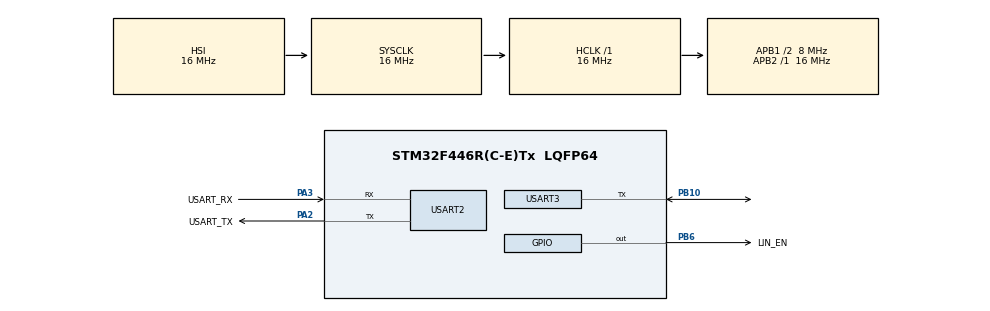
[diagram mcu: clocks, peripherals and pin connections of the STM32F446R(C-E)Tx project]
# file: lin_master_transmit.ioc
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Mcu.Family=STM32F4
Mcu.Name=STM32F446R(C-E)Tx
Mcu.Package=LQFP64
NVIC.PriorityGroup=NVIC_PRIORITYGROUP_0
PA13.GPIO_Label=TMS
PA13.Signal=SYS_JTMS-SWDIO
PA14.GPIO_Label=TCK
PA14.Signal=SYS_JTCK-SWCLK
PA2.GPIO_Label=USART_TX
PA2.Mode=LIN
PA2.Signal=USART2_TX
PA3.GPIO_Label=USART_RX
PA3.Mode=LIN
PA3.Signal=USART2_RX
PB10.GPIO_ModeDefaultOD=GPIO_MODE_AF_PP
PB10.Mode=Half_duplex(single_wire_mode)
PB10.Signal=USART3_TX
PB3.GPIO_Label=SWO
PB3.Signal=SYS_JTDO-SWO
PB6.GPIO_Label=LIN_EN
PB6.Signal=GPIO_Output
PC14-OSC32_IN.Signal=RCC_OSC32_IN
PC15-OSC32_OUT.Signal=RCC_OSC32_OUT
PH0-OSC_IN.Signal=RCC_OSC_IN
PH1-OSC_OUT.Signal=RCC_OSC_OUT
ProjectManager.HeapSize=0x200
ProjectManager.StackSize=0x400
ProjectManager.TargetToolchain=STM32CubeIDE
RCC.AHBFreq_Value=16000000
RCC.APB1CLKDivider=RCC_HCLK_DIV2
RCC.APB1Freq_Value=8000000
RCC.APB1TimFreq_Value=16000000
RCC.APB2Freq_Value=16000000
RCC.APB2TimFreq_Value=16000000
RCC.CortexFreq_Value=16000000
RCC.FLatency-AdvancedSettings=FLASH_LATENCY_0
RCC.HCLKFreq_Value=16000000
RCC.HSE_VALUE=8000000
RCC.HSI_VALUE=16000000
RCC.LSE_VALUE=32768
RCC.PLLN=336
RCC.PLLP=RCC_PLLP_DIV4
RCC.SYSCLKFreq_VALUE=16000000
RCC.USBFreq_Value=168000000
RCC.VCOOutputFreq_Value=336000000
USART2.VirtualMode=VM_ASYNC
USART3.VirtualMode=VM_ASYNC
board=NUCLEO-F446RE

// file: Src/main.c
/* USER CODE BEGIN Header */
/**
  ******************************************************************************
  * @file           : main.c
  * @brief          : Main program body
  ******************************************************************************
  * @attention
  *
  * Copyright (c) 2026 STMicroelectronics.
  * All rights reserved.
  *
  * This software is licensed under terms that can be found in the LICENSE file
  * in the root directory of this software component.
  * If no LICENSE file comes with this software, it is provided AS-IS.
  *
  ******************************************************************************
  DEBUG PRINTS: PB10 (TX) -> RX (USB to UART)
  Arduino Header Pin: D6
  Baudrate: 115200
  */
/* USER CODE END Header */
#include "main.h"

/* USER CODE BEGIN Includes */
#include "inx_mcp2003b.h"
#include "inx_uart_printf_stm32.h"
/* USER CODE END Includes */

/* USER CODE BEGIN PM */

#define TX_LENGTH 8U
#define MSG_COMMAND_ID 0x17U

/* USER CODE END PM */

UART_HandleTypeDef huart2;
UART_HandleTypeDef huart3;

void SystemClock_Config(void);
static void MX_GPIO_Init(void);
static void MX_USART2_UART_Init(void);
static void MX_USART3_UART_Init(void);

/* USER CODE BEGIN 0 */
static inx_mcp2003b_dev_t *lin_handle;

static uint8_t tx_data[TX_LENGTH] = {0x01, 0x02, 0x03, 0x04, 0x05, 0x06, 0x07, 0x08};
static uint8_t id = MSG_COMMAND_ID;
/* USER CODE END 0 */

int main(void)
{

  /* MCU Configuration--------------------------------------------------------*/

  /* Reset of all peripherals, Initializes the Flash interface and the Systick. */
  HAL_Init();

  /* Configure the system clock */
  SystemClock_Config();

  /* Initialize all configured peripherals */
  MX_GPIO_Init();
  MX_USART2_UART_Init();
  MX_USART3_UART_Init();
  /* USER CODE BEGIN 2 */

  inx_uart_printf_init(&huart3);

  inx_mcp2003b_hw_desc_t lin_hw = {
      .uart_handle = &huart2
  };

  inx_mcp2003b_config_t cfg = {
      .lin_baudrate = 10000U,
      .break_width = 11U,
      .flags = INX_MCP2003B_MASTER,
  };

  lin_handle = inx_mcp2003b_open(&lin_hw);

  if(inx_mcp2003b_config(lin_handle, &cfg) != INX_MCP2003B_STATUS_OK)
     return -1;

  HAL_GPIO_WritePin(LIN_EN_GPIO_Port, LIN_EN_Pin, GPIO_PIN_SET);

  printf("LIN Master Start\r\n");

  if(inx_mcp2003b_start(lin_handle) != INX_MCP2003B_STATUS_OK)
      return -1;

  printf("Tx 0x%x {", id);
  if(inx_mcp2003b_write_message(lin_handle, id, tx_data, TX_LENGTH, 0xFFFFFF) == INX_MCP2003B_STATUS_OK) {
    for (uint8_t i = 0; i < TX_LENGTH; i++) {
	  printf(" 0x%x",tx_data[i]);
	}
	printf(" }");
  }
  printf(" br: %lu\r\n", cfg.lin_baudrate);
  /* USER CODE END 2 */

  /* Infinite loop */
  while (1)
  {

  }
}

void SystemClock_Config(void)
{
  RCC_OscInitTypeDef RCC_OscInitStruct = {0};
  RCC_ClkInitTypeDef RCC_ClkInitStruct = {0};

  /** Configure the main internal regulator output voltage
  */
  __HAL_RCC_PWR_CLK_ENABLE();
  __HAL_PWR_VOLTAGESCALING_CONFIG(PWR_REGULATOR_VOLTAGE_SCALE3);

  /** Initializes the RCC Oscillators according to the specified parameters
  * in the RCC_OscInitTypeDef structure.
  */
  RCC_OscInitStruct.OscillatorType = RCC_OSCILLATORTYPE_HSI;
  RCC_OscInitStruct.HSIState = RCC_HSI_ON;
  RCC_OscInitStruct.HSICalibrationValue = RCC_HSICALIBRATION_DEFAULT;
  RCC_OscInitStruct.PLL.PLLState = RCC_PLL_NONE;
  if (HAL_RCC_OscConfig(&RCC_OscInitStruct) != HAL_OK)
  {
    Error_Handler();
  }

  /** Initializes the CPU, AHB and APB buses clocks
  */
  RCC_ClkInitStruct.ClockType = RCC_CLOCKTYPE_HCLK|RCC_CLOCKTYPE_SYSCLK
                              |RCC_CLOCKTYPE_PCLK1|RCC_CLOCKTYPE_PCLK2;
  RCC_ClkInitStruct.SYSCLKSource = RCC_SYSCLKSOURCE_HSI;
  RCC_ClkInitStruct.AHBCLKDivider = RCC_SYSCLK_DIV1;
  RCC_ClkInitStruct.APB1CLKDivider = RCC_HCLK_DIV2;
  RCC_ClkInitStruct.APB2CLKDivider = RCC_HCLK_DIV1;

  if (HAL_RCC_ClockConfig(&RCC_ClkInitStruct, FLASH_LATENCY_0) != HAL_OK)
  {
    Error_Handler();
  }
}

static void MX_USART2_UART_Init(void)
{

  huart2.Instance = USART2;
  huart2.Init.BaudRate = 115200;
  huart2.Init.WordLength = UART_WORDLENGTH_8B;
  huart2.Init.StopBits = UART_STOPBITS_1;
  huart2.Init.Parity = UART_PARITY_NONE;
  huart2.Init.Mode = UART_MODE_TX_RX;
  huart2.Init.HwFlowCtl = UART_HWCONTROL_NONE;
  huart2.Init.OverSampling = UART_OVERSAMPLING_16;
  if (HAL_LIN_Init(&huart2, UART_LINBREAKDETECTLENGTH_10B) != HAL_OK)
  {
    Error_Handler();
  }

}

static void MX_USART3_UART_Init(void)
{

  huart3.Instance = USART3;
  huart3.Init.BaudRate = 115200;
  huart3.Init.WordLength = UART_WORDLENGTH_8B;
  huart3.Init.StopBits = UART_STOPBITS_1;
  huart3.Init.Parity = UART_PARITY_NONE;
  huart3.Init.Mode = UART_MODE_TX_RX;
  huart3.Init.HwFlowCtl = UART_HWCONTROL_NONE;
  huart3.Init.OverSampling = UART_OVERSAMPLING_16;
  if (HAL_HalfDuplex_Init(&huart3) != HAL_OK)
  {
    Error_Handler();
  }

}

static void MX_GPIO_Init(void)
{
  GPIO_InitTypeDef GPIO_InitStruct = {0};

  /* GPIO Ports Clock Enable */
  __HAL_RCC_GPIOC_CLK_ENABLE();
  __HAL_RCC_GPIOH_CLK_ENABLE();
  __HAL_RCC_GPIOA_CLK_ENABLE();
  __HAL_RCC_GPIOB_CLK_ENABLE();

  /*Configure GPIO pin Output Level */
  HAL_GPIO_WritePin(LIN_EN_GPIO_Port, LIN_EN_Pin, GPIO_PIN_RESET);

  /*Configure GPIO pin : LIN_EN_Pin */
  GPIO_InitStruct.Pin = LIN_EN_Pin;
  GPIO_InitStruct.Mode = GPIO_MODE_OUTPUT_PP;
  GPIO_InitStruct.Pull = GPIO_NOPULL;
  GPIO_InitStruct.Speed = GPIO_SPEED_FREQ_LOW;
  HAL_GPIO_Init(LIN_EN_GPIO_Port, &GPIO_InitStruct);

}

void Error_Handler(void)
{
  __disable_irq();
  while (1)
  {
  }
}
